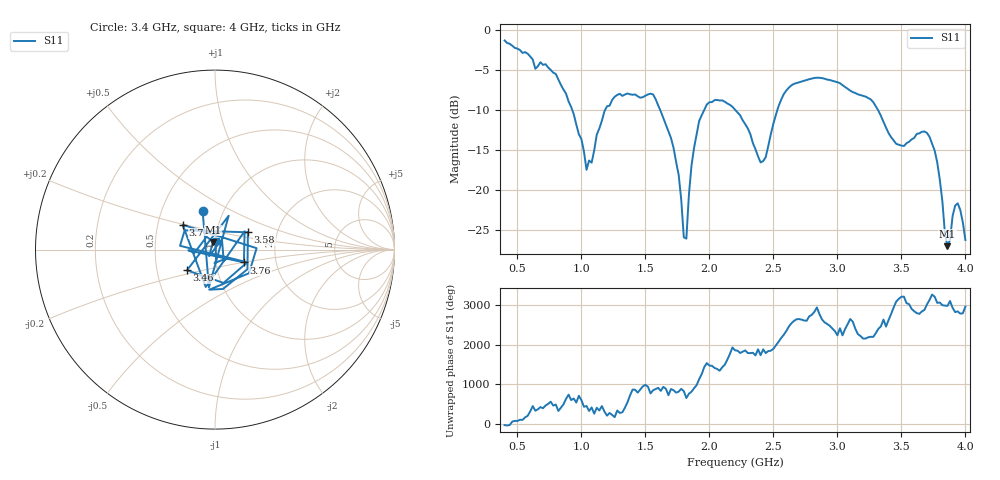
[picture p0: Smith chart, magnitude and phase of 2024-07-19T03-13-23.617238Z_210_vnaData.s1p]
!Created with skrf (http://scikit-rf.org).
# Hz S RI R 50.0
!freq ReS11 ImS11
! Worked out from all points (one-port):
!   181 points, 400 MHz to 4 GHz, reference 50 ohm
!   lowest |S11| = -27.0 dB at 3.86 GHz (marker M1), VSWR 1.09, Z = 48.7 + j4.22 ohm
!   |S11| at or under -10 dB: 1.615 GHz to 1.96 GHz (345 MHz wide, 19.3 % of centre); 2.201 GHz to 2.532 GHz (330.6 MHz wide, 14 % of centre); 3.316 GHz to end of sweep (the widest 3 of 4)
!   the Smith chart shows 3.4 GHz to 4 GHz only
!   S11 on the Smith chart (normalised r, x): 3.4 GHz: 0.80, +0.36; 3.46 GHz: 0.71, -0.17; 3.58 GHz: 1.42, +0.29; 3.7 GHz: 0.67, +0.20; 3.76 GHz: 1.37, -0.20; 4 GHz: 1.00, +0.10
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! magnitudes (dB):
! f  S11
! 400 MHz  -1.4
! 860 MHz  -7.5
! 1 GHz  -13.7
! 1.04 GHz  -17.5
! 1.18 GHz  -10.2
! 1.3 GHz  -8.0
! 1.56 GHz  -8.1
! 1.76 GHz  -18.1
! 1.8 GHz  -25.9
! 1.82 GHz  -26.0
! 1.86 GHz  -17.0
! 1.92 GHz  -11.4
! 2.04 GHz  -8.8
! 2.2 GHz  -10.0
! 2.4 GHz  -16.5
! 2.56 GHz  -8.8
! 2.66 GHz  -6.8
! 3.1 GHz  -7.6
! 3.28 GHz  -9.0
! 3.4 GHz  -12.9
! 3.46 GHz  -14.2
! 3.56 GHz  -14.0
! 3.58 GHz  -13.7
! 3.7 GHz  -12.9
! 3.76 GHz  -15.1
! 3.86 GHz  -27.0
! 3.94 GHz  -21.6
! 4 GHz  -26.2
